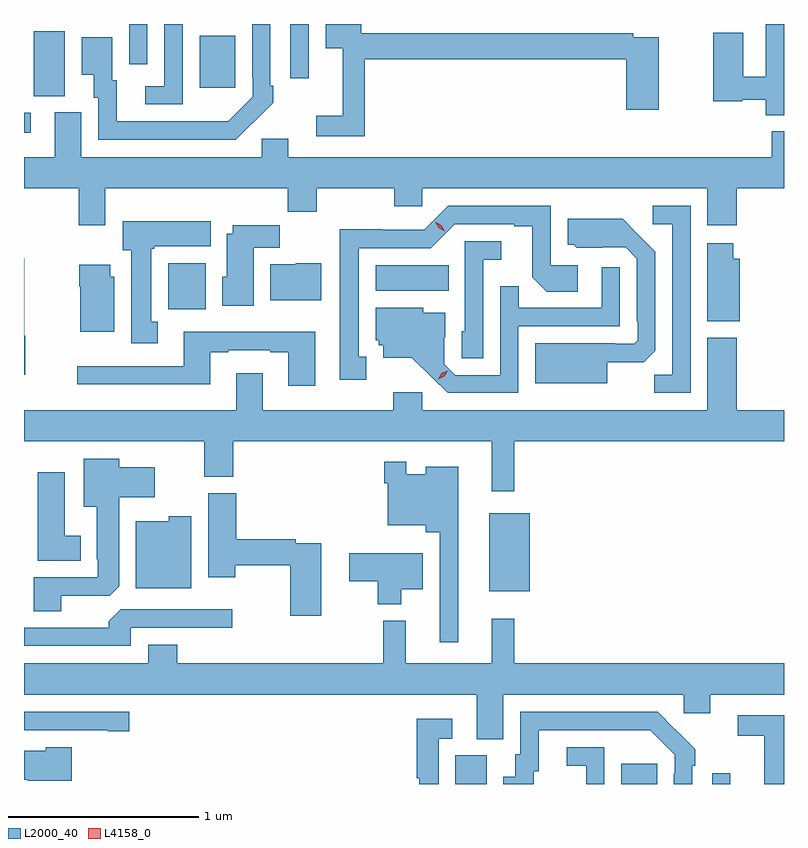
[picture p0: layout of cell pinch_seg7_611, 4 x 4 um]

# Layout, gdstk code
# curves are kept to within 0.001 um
import gdstk
lib = gdstk.Library(unit=1e-6, precision=1e-09)
def R(c, l, rs):  # rectangles x0, y0, x1, y1
    for r in rs: c.add(gdstk.rectangle(r[:2], r[2:], *l))
def P(c, l, *ps):  # polygons
    for p in ps: c.add(gdstk.Polygon(p, *l))
L2000_40 = (2000, 40)
L4158_0 = (4158, 0)

pinch_seg7_611 = lib.new_cell('pinch_seg7_611')
R(pinch_seg7_611, L2000_40, [(138.014,1016.129,138.178,1016.28), (138.887,1016.129,139.075,1016.236), (139.365,1016.129,139.461,1016.185), (138.191,1017.143,138.406,1017.553), (136.502,1018.628,136.699,1018.87), (137.594,1018.724,137.978,1018.858), (135.743,1019.556,135.778,1019.661), (135.794,1019.749,135.958,1020.092), (136.667,1019.793,136.855,1020.067), (137.145,1019.844,137.241,1020.129), (136.296,1019.916,136.392,1020.129)])
P(pinch_seg7_611, L2000_40, [(136.578,1020.129),(136.482,1020.129),(136.482,1019.802),(136.38,1019.802),(136.38,1019.706),(136.578,1019.706)],
  [(136.949,1019.611),(136.95,1019.61),(137.055,1019.715),(137.055,1019.803),(137.04,1019.803),(137.04,1020.129),(136.944,1020.129),(136.944,1019.845),(136.947,1019.845),(136.947,1019.745),(136.819,1019.617),(136.231,1019.616),(136.231,1019.832),(136.207,1019.832),(136.207,1020.058),(136.046,1020.058),(136.046,1019.861),(136.109,1019.861),(136.109,1019.742),(136.134,1019.742),(136.134,1019.52),(136.858,1019.52)],
  [(137.537,1019.944),(138.914,1019.944),(138.914,1019.679),(139.084,1019.679),(139.084,1020.06),(138.95,1020.06),(138.95,1020.08),(137.517,1020.08),(137.517,1020.129),(137.33,1020.129),(137.33,1020.002),(137.42,1020.002),(137.42,1019.647),(137.28,1019.647),(137.28,1019.538),(137.537,1019.538)],
  [(139.743,1020.129),(139.647,1020.129),(139.647,1019.851),(139.528,1019.851),(139.528,1020.082),(139.37,1020.082),(139.37,1019.722),(139.524,1019.722),(139.524,1019.73),(139.647,1019.73),(139.647,1019.649),(139.743,1019.649)],
  [(137.131,1019.14),(137.283,1019.14),(137.283,1019.264),(137.692,1019.264),(137.692,1019.171),(137.838,1019.171),(137.838,1019.264),(139.34,1019.264),(139.34,1019.07),(139.493,1019.07),(139.493,1019.264),(139.743,1019.264),(139.743,1019.564),(139.679,1019.564),(139.679,1019.428),(137.134,1019.428),(137.134,1019.526),(136.995,1019.526),(136.995,1019.428),(136.045,1019.428),(136.045,1019.664),(135.905,1019.664),(135.905,1019.428),(135.743,1019.428),(135.743,1019.264),(136.031,1019.264),(136.031,1019.07),(136.171,1019.07),(136.171,1019.264),(137.131,1019.264)],
  [(139.251,1019.172),(139.053,1019.172),(139.053,1019.076),(139.155,1019.076),(139.155,1018.283),(139.06,1018.283),(139.06,1018.188),(139.251,1018.188)],
  [(137.545,1018.377),(137.506,1018.377),(137.506,1018.95),(137.883,1018.95),(138.009,1019.076),(138.323,1019.076),(138.323,1019.064),(138.417,1019.064),(138.417,1018.796),(138.493,1018.72),(138.658,1018.72),(138.658,1018.86),(138.516,1018.86),(138.516,1019.172),(137.976,1019.172),(137.85,1019.046),(137.628,1019.046),(137.628,1019.048),(137.405,1019.048),(137.405,1018.257),(137.545,1018.257)],
  [(138.814,1018.349),(139.006,1018.349),(139.065,1018.408),(139.065,1018.93),(138.893,1019.104),(138.605,1019.104),(138.605,1018.968),(138.636,1018.968),(138.652,1018.952),(138.909,1018.953),(138.969,1018.893),(138.969,1018.564),(138.972,1018.564),(138.972,1018.464),(138.954,1018.446),(138.854,1018.446),(138.854,1018.45),(138.434,1018.45),(138.434,1018.238),(138.814,1018.238)],
  [(136.447,1018.562),(136.414,1018.562),(136.414,1018.945),(136.428,1018.945),(136.428,1018.958),(136.726,1018.958),(136.726,1019.092),(136.262,1019.092),(136.262,1018.938),(136.307,1018.938),(136.307,1018.449),(136.447,1018.449)],
  [(136.951,1018.952),(137.09,1018.952),(137.09,1019.071),(136.841,1019.071),(136.841,1019.026),(136.811,1019.026),(136.811,1018.8),(136.787,1018.8),(136.787,1018.646),(136.951,1018.646)],
  [(138.159,1018.889),(138.256,1018.889),(138.256,1018.986),(138.063,1018.986),(138.063,1018.512),(138.048,1018.512),(138.048,1018.369),(138.159,1018.369)],
  [(139.51,1018.894),(139.475,1018.894),(139.475,1018.975),(139.34,1018.975),(139.34,1018.565),(139.51,1018.565)],
  [(135.749,1018.487),(135.744,1018.487),(135.744,1018.896),(135.743,1018.896),(135.743,1018.283),(135.749,1018.283)],
  [(137.308,1018.87),(137.172,1018.87),(137.172,1018.864),(137.039,1018.864),(137.039,1018.676),(137.308,1018.676)],
  [(136.219,1018.8),(136.198,1018.8),(136.198,1018.861),(136.033,1018.861),(136.033,1018.748),(136.04,1018.748),(136.04,1018.508),(136.219,1018.508)],
  [(138.345,1018.539),(138.879,1018.539),(138.879,1018.849),(138.783,1018.849),(138.783,1018.635),(138.347,1018.635),(138.347,1018.748),(138.249,1018.748),(138.249,1018.281),(138.012,1018.281),(137.955,1018.338),(137.955,1018.48),(137.959,1018.48),(137.959,1018.609),(137.844,1018.609),(137.844,1018.636),(137.594,1018.636),(137.594,1018.464),(137.61,1018.464),(137.61,1018.437),(137.633,1018.437),(137.633,1018.373),(137.785,1018.373),(137.972,1018.188),(138.345,1018.188)],
  [(137.275,1018.51),(136.583,1018.51),(136.583,1018.329),(136.023,1018.329),(136.023,1018.232),(136.723,1018.232),(136.723,1018.401),(136.819,1018.401),(136.819,1018.413),(137.039,1018.413),(137.039,1018.401),(137.135,1018.401),(137.135,1018.224),(137.275,1018.224)],
  [(138.323,1017.932),(139.743,1017.932),(139.743,1018.096),(139.493,1018.096),(139.493,1018.477),(139.34,1018.477),(139.34,1018.096),(137.838,1018.096),(137.838,1018.192),(137.687,1018.192),(137.687,1018.096),(136.999,1018.096),(136.999,1018.291),(136.859,1018.291),(136.859,1018.096),(135.743,1018.096),(135.743,1017.932),(136.691,1017.932),(136.691,1017.745),(136.844,1017.745),(136.844,1017.932),(138.206,1017.932),(138.206,1017.669),(138.323,1017.669)],
  [(135.94,1017.12),(136.194,1017.12),(136.243,1017.169),(136.243,1017.638),(136.432,1017.638),(136.432,1017.796),(136.243,1017.796),(136.243,1017.841),(136.058,1017.841),(136.058,1017.587),(136.127,1017.587),(136.127,1017.313),(136.131,1017.313),(136.131,1017.216),(135.793,1017.216),(135.793,1017.037),(135.94,1017.037)],
  [(138.028,1017.799),(137.858,1017.799),(137.858,1017.76),(137.754,1017.76),(137.754,1017.826),(137.638,1017.826),(137.638,1017.713),(137.658,1017.713),(137.658,1017.491),(137.858,1017.491),(137.858,1017.455),(137.931,1017.455),(137.931,1016.874),(138.028,1016.874)],
  [(136.042,1017.436),(135.958,1017.436),(135.958,1017.769),(135.815,1017.769),(135.815,1017.305),(136.042,1017.305)],
  [(137.308,1017.396),(137.174,1017.396),(137.174,1017.416),(136.859,1017.416),(136.859,1017.66),(136.712,1017.66),(136.712,1017.216),(136.854,1017.216),(136.854,1017.28),(137.143,1017.28),(137.143,1017.015),(137.308,1017.015)],
  [(136.624,1017.538),(136.506,1017.538),(136.506,1017.511),(136.331,1017.511),(136.331,1017.158),(136.624,1017.158)],
  [(137.728,1017.155),(137.842,1017.155),(137.842,1017.343),(137.454,1017.343),(137.454,1017.196),(137.606,1017.196),(137.606,1017.074),(137.728,1017.074)],
  [(136.305,1016.952),(136.84,1016.952),(136.84,1017.048),(136.251,1017.048),(136.19,1016.986),(136.19,1016.952),(135.743,1016.952),(135.743,1016.856),(136.305,1016.856)],
  [(138.265,1016.6),(139.215,1016.6),(139.215,1016.502),(139.354,1016.502),(139.354,1016.6),(139.743,1016.6),(139.743,1016.764),(138.323,1016.764),(138.323,1016.998),(138.206,1016.998),(138.206,1016.764),(137.753,1016.764),(137.753,1016.989),(137.635,1016.989),(137.635,1016.764),(136.55,1016.764),(136.55,1016.863),(136.397,1016.863),(136.397,1016.764),(135.743,1016.764),(135.743,1016.6),(138.125,1016.6),(138.125,1016.365),(138.265,1016.365)],
  [(136.297,1016.508),(135.743,1016.508),(135.743,1016.412),(136.184,1016.412),(136.184,1016.407),(136.297,1016.407)],
  [(138.427,1016.196),(138.451,1016.196),(138.451,1016.412),(139.039,1016.412),(139.167,1016.283),(139.167,1016.183),(139.164,1016.183),(139.164,1016.129),(139.26,1016.129),(139.26,1016.225),(139.275,1016.225),(139.275,1016.313),(139.078,1016.508),(138.354,1016.508),(138.354,1016.286),(138.329,1016.286),(138.329,1016.167),(138.266,1016.167),(138.266,1016.129),(138.427,1016.129)],
  [(139.743,1016.49),(139.5,1016.49),(139.5,1016.382),(139.64,1016.382),(139.64,1016.129),(139.743,1016.129)],
  [(137.925,1016.367),(137.998,1016.367),(137.998,1016.473),(137.809,1016.473),(137.809,1016.16),(137.824,1016.16),(137.824,1016.129),(137.925,1016.129)],
  [(135.994,1016.323),(135.858,1016.323),(135.858,1016.305),(135.743,1016.305),(135.743,1016.151),(135.763,1016.151),(135.763,1016.147),(135.994,1016.147)],
  [(138.798,1016.322),(138.6,1016.322),(138.6,1016.226),(138.702,1016.226),(138.702,1016.129),(138.798,1016.129)])
P(pinch_seg7_611, L4158_0, [(137.923,1018.259),(137.923,1018.26),(137.941,1018.29),(137.972,1018.305),(137.972,1018.305),(137.972,1018.305),(137.954,1018.275),(137.924,1018.259)],
  [(137.957,1019.037),(137.925,1019.056),(137.907,1019.088),(137.907,1019.089),(137.907,1019.089),(137.939,1019.07),(137.957,1019.038),(137.957,1019.037)])

lib.write_gds('pinch_seg7_611.gds')
